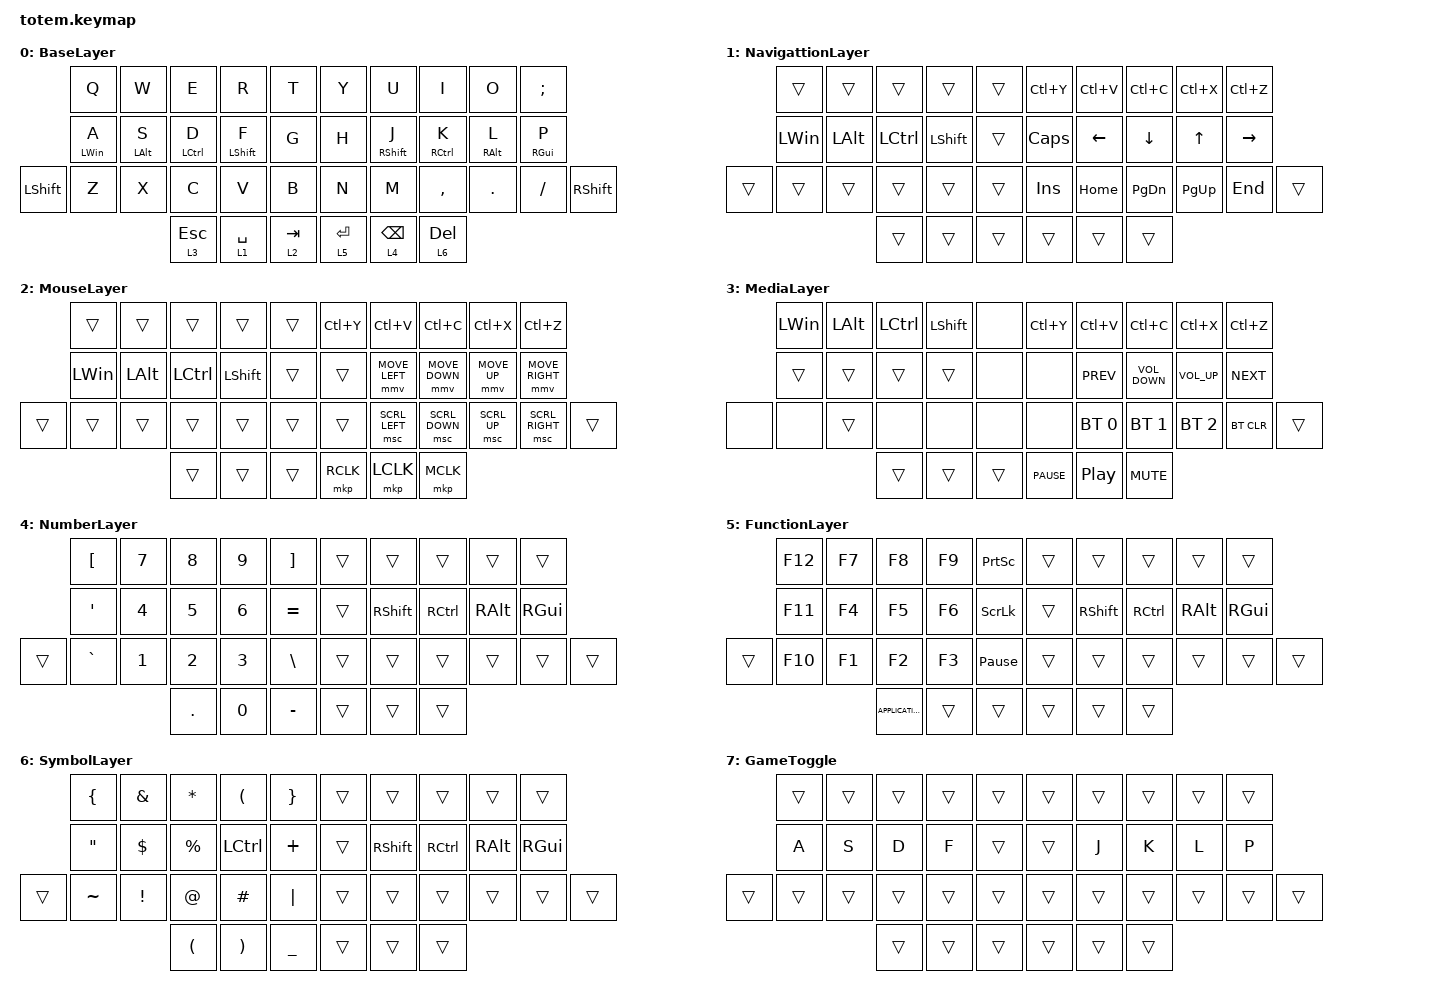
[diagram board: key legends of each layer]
#define ZMK_POINTING_DEFAULT_MOVE_VAL 2500  // default: 600
#define ZMK_POINTING_DEFAULT_SCRL_VAL 15  // default: 10

#include <behaviors.dtsi>
#include <dt-bindings/zmk/bt.h>
#include <dt-bindings/zmk/keys.h>
#include <dt-bindings/zmk/pointing.h>

/ {
    behaviors {
        hm: hm {
            compatible = "zmk,behavior-hold-tap";
            label = "HM";
            bindings = <&kp>, <&kp>;

            #binding-cells = <2>;
            tapping-term-ms = <200>;
            quick-tap-ms = <130>;
            flavor = "tap-preferred";
        };
    };

    combos {
        compatible = "zmk,combos";

        Korean {
            bindings = <&kp LS(LANG_HANGEUL)>;
            key-positions = <17 18>;
        };

        ToggleGame {
            bindings = <&tog 7>;
            key-positions = <20 31>;
        };
    };

    keymap {
        compatible = "zmk,keymap";

        BaseLayer {
            bindings = <
                &kp Q           &kp W           &kp E        &kp R             &kp T        &kp Y        &kp U              &kp I         &kp O            &kp SEMICOLON
                &hm LEFT_WIN A  &hm LEFT_ALT S  &hm LCTRL D  &hm LEFT_SHIFT F  &kp G        &kp H        &hm RIGHT_SHIFT J  &hm RCTRL K   &hm RIGHT_ALT L  &hm RIGHT_GUI P
&kp LEFT_SHIFT  &kp Z           &kp X           &kp C        &kp V             &kp B        &kp N        &kp M              &kp COMMA     &kp DOT          &kp FSLH         &kp RIGHT_SHIFT
                                                &lt 3 ESC    &lt 1 SPACE       &lt 2 TAB    &lt 5 ENTER  &lt 4 BACKSPACE    &lt 6 DELETE
            >;
        };

        NavigattionLayer {
            bindings = <
        &trans        &trans        &trans     &trans          &trans    &kp LC(Y)   &kp LC(V)       &kp LC(C)       &kp LC(X)     &kp LC(Z)
        &kp LEFT_WIN  &kp LEFT_ALT  &kp LCTRL  &kp LEFT_SHIFT  &trans    &kp CAPS    &kp LEFT_ARROW  &kp DOWN_ARROW  &kp UP_ARROW  &kp RIGHT_ARROW
&trans  &trans        &trans        &trans     &trans          &trans    &kp INSERT  &kp HOME        &kp PAGE_DOWN   &kp PAGE_UP   &kp END          &trans
                                    &trans     &trans          &trans    &trans      &trans          &trans
            >;
        };

        MouseLayer {
            bindings = <
        &trans        &trans        &trans     &trans          &trans    &kp LC(Y)  &kp LC(V)       &kp LC(C)       &kp LC(X)     &kp LC(Z)
        &kp LEFT_WIN  &kp LEFT_ALT  &kp LCTRL  &kp LEFT_SHIFT  &trans    &trans     &mmv MOVE_LEFT  &mmv MOVE_DOWN  &mmv MOVE_UP  &mmv MOVE_RIGHT
&trans  &trans        &trans        &trans     &trans          &trans    &trans     &msc SCRL_LEFT  &msc SCRL_DOWN  &msc SCRL_UP  &msc SCRL_RIGHT  &trans
                                    &trans     &trans          &trans    &mkp RCLK  &mkp LCLK       &mkp MCLK
            >;
        };

        MediaLayer {
            bindings = <
       &kp LEFT_WIN  &kp LEFT_ALT  &kp LEFT_CONTROL  &kp LEFT_SHIFT  &none     &kp LC(Y)    &kp LC(V)         &kp LC(C)          &kp LC(X)        &kp LC(Z)
       &trans        &trans        &trans            &trans          &none     &none        &kp C_PREV        &kp C_VOLUME_DOWN  &kp C_VOLUME_UP  &kp C_NEXT
&none  &none         &trans        &none             &none           &none     &none        &bt BT_SEL 0      &bt BT_SEL 1       &bt BT_SEL 2     &bt BT_CLR  &trans
                                   &trans            &trans          &trans    &kp C_PAUSE  &kp C_PLAY_PAUSE  &kp C_MUTE
            >;
        };

        NumberLayer {
            bindings = <
        &kp LEFT_BRACKET  &kp NUMBER_7  &kp NUMBER_8  &kp NUMBER_9  &kp RIGHT_BRACKET    &trans  &trans           &trans     &trans         &trans
        &kp SQT           &kp NUMBER_4  &kp NUMBER_5  &kp NUMBER_6  &kp EQUAL            &trans  &kp RIGHT_SHIFT  &kp RCTRL  &kp RIGHT_ALT  &kp RIGHT_GUI
&trans  &kp GRAVE         &kp NUMBER_1  &kp NUMBER_2  &kp NUMBER_3  &kp BACKSLASH        &trans  &trans           &trans     &trans         &trans         &trans
                                        &kp PERIOD    &kp NUMBER_0  &kp MINUS            &trans  &trans           &trans
            >;
        };

        FunctionLayer {
            bindings = <
        &kp F12  &kp F7  &kp F8             &kp F9  &kp PRINTSCREEN    &trans  &trans           &trans     &trans         &trans
        &kp F11  &kp F4  &kp F5             &kp F6  &kp SLCK           &trans  &kp RIGHT_SHIFT  &kp RCTRL  &kp RIGHT_ALT  &kp RIGHT_GUI
&trans  &kp F10  &kp F1  &kp F2             &kp F3  &kp PAUSE_BREAK    &trans  &trans           &trans     &trans         &trans         &trans
                         &kp K_APPLICATION  &trans  &trans             &trans  &trans           &trans
            >;
        };

        SymbolLayer {
            bindings = <
        &kp LEFT_BRACE     &kp AMPERSAND    &kp ASTERISK          &kp LEFT_PARENTHESIS   &kp RIGHT_BRACE    &trans  &trans           &trans     &trans         &trans
        &kp DOUBLE_QUOTES  &kp DOLLAR       &kp PERCENT           &kp LCTRL              &kp PLUS           &trans  &kp RIGHT_SHIFT  &kp RCTRL  &kp RIGHT_ALT  &kp RIGHT_GUI
&trans  &kp TILDE          &kp EXCLAMATION  &kp AT_SIGN           &kp HASH               &kp PIPE           &trans  &trans           &trans     &trans         &trans         &trans
                                            &kp LEFT_PARENTHESIS  &kp RIGHT_PARENTHESIS  &kp UNDERSCORE     &trans  &trans           &trans
            >;
        };

        GameToggle {
            bindings = <
        &trans  &trans  &trans  &trans  &trans    &trans  &trans  &trans  &trans  &trans
        &kp A   &kp S   &kp D   &kp F   &trans    &trans  &kp J   &kp K   &kp L   &kp P
&trans  &trans  &trans  &trans  &trans  &trans    &trans  &trans  &trans  &trans  &trans  &trans
                        &trans  &trans  &trans    &trans  &trans  &trans
            >;
        };

        extra1 { status = "reserved"; };

        extra2 { status = "reserved"; };

        extra3 { status = "reserved"; };
    };

    conditional_layers { compatible = "zmk,conditional-layers"; };
};
